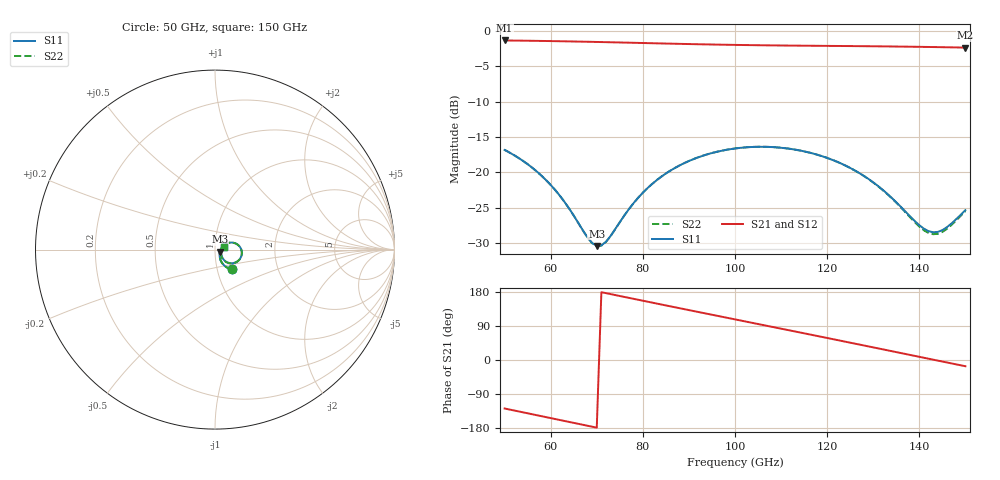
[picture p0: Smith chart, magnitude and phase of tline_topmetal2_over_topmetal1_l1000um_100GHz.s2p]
#  GHZ S DB R 50
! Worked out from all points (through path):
!   101 points, 50 GHz to 150 GHz, reference 50 ohm
!   highest |S21| = -1.36 dB at 50 GHz (marker M1); lowest = -2.4 dB at 150 GHz (marker M2)
!   group delay of S21, straight-line fit = 6.88 ps
!   lowest |S11| = -30.4 dB at 70 GHz (marker M3), VSWR 1.06, Z = 52.9 - j1.14 ohm
!   |S11| at or under -10 dB: start of sweep to end of sweep
!   |S22| runs from -30.5 to -16.4 dB; largest |S21 - S12| = 1.5e-12
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50  -16.85 -49.6  -1.36 -128.0  -1.36 -128.0  -16.84 -49.8
55  -18.87 -57.4  -1.40 -140.6  -1.40 -140.6  -18.86 -57.7
59  -21.12 -61.6  -1.44 -150.8  -1.44 -150.8  -21.12 -61.9
63  -24.20 -61.3  -1.48 -160.9  -1.48 -160.9  -24.20 -61.7
67  -28.24 -48.5  -1.53 -171.0  -1.53 -171.0  -28.26 -48.9
69  -30.01 -31.9  -1.56 -176.0  -1.56 -176.0  -30.04 -32.3
70  -30.42 -20.9  -1.57 -178.5  -1.57 -178.5  -30.46 -21.2
72  -29.83 1.1  -1.60 176.4  -1.60 176.4  -29.86 0.9
78  -24.36 26.8  -1.69 161.4  -1.69 161.4  -24.37 26.6
84  -20.63 24.9  -1.78 146.5  -1.78 146.5  -20.63 24.6
92  -17.90 13.4  -1.90 126.8  -1.90 126.8  -17.89 13.0
100  -16.64 -0.7  -1.99 107.2  -1.99 107.2  -16.64 -1.2
108  -16.44 -15.4  -2.06 87.6  -2.06 87.6  -16.44 -16.0
112  -16.70 -22.7  -2.09 77.8  -2.09 77.8  -16.69 -23.3
117  -17.37 -31.5  -2.11 65.5  -2.11 65.5  -17.37 -32.2
126  -19.75 -44.8  -2.16 43.2  -2.16 43.2  -19.76 -45.8
130  -21.43 -48.4  -2.19 33.3  -2.19 33.3  -21.46 -49.5
134  -23.62 -48.5  -2.21 23.3  -2.21 23.3  -23.68 -49.8
140  -27.49 -33.2  -2.26 8.4  -2.26 8.4  -27.69 -34.6
143  -28.49 -14.7  -2.29 0.9  -2.29 0.9  -28.77 -15.4
146  -27.77 4.4  -2.33 -6.5  -2.33 -6.5  -28.01 4.4
150  -25.37 18.5  -2.37 -16.5  -2.37 -16.5  -25.51 18.9
